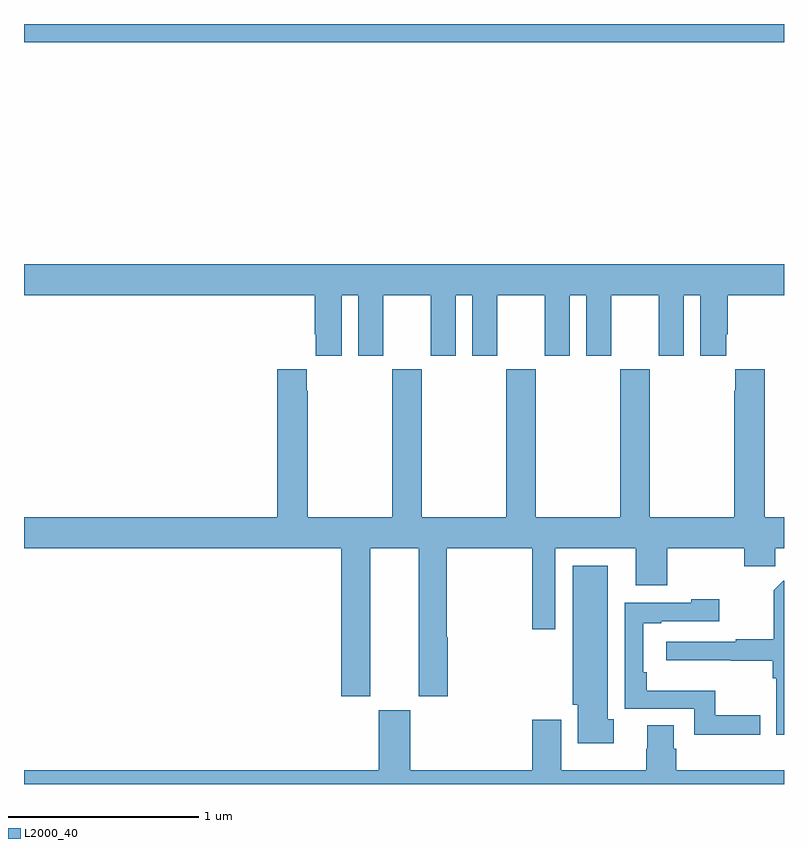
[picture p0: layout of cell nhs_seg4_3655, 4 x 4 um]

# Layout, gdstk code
import gdstk
lib = gdstk.Library(unit=1e-6, precision=1e-09)
def R(c, l, rs):  # rectangles x0, y0, x1, y1
    for r in rs: c.add(gdstk.rectangle(r[:2], r[2:], *l))
def P(c, l, *ps):  # polygons
    for p in ps: c.add(gdstk.Polygon(p, *l))
L2000_40 = (2000, 40)

nhs_seg4_3655 = lib.new_cell('nhs_seg4_3655')
R(nhs_seg4_3655, L2000_40, [(303,812.804,307,812.9)])
P(nhs_seg4_3655, L2000_40, [(303,811.472),(304.529,811.472),(304.529,811.267),(304.535,811.267),(304.535,811.155),(304.672,811.155),(304.672,811.472),(304.76,811.472),(304.76,811.155),(304.891,811.155),(304.891,811.472),(305.141,811.472),(305.141,811.155),(305.272,811.155),(305.272,811.472),(305.36,811.472),(305.36,811.155),(305.491,811.155),(305.491,811.472),(305.741,811.472),(305.741,811.155),(305.872,811.155),(305.872,811.472),(305.96,811.472),(305.96,811.155),(306.091,811.155),(306.091,811.472),(306.341,811.472),(306.341,811.155),(306.472,811.155),(306.472,811.472),(306.56,811.472),(306.56,811.155),(306.697,811.155),(306.697,811.267),(306.704,811.267),(306.704,811.472),(307,811.472),(307,811.636),(303,811.636)],
  [(306.791,810.047),(306.955,810.047),(306.955,810.14),(307,810.14),(307,810.304),(306.899,810.304),(306.899,811.084),(306.743,811.084),(306.743,810.971),(306.739,810.971),(306.739,810.304),(306.294,810.304),(306.294,811.084),(306.139,811.084),(306.139,810.304),(305.694,810.304),(305.694,811.084),(305.539,811.084),(305.539,810.304),(305.094,810.304),(305.094,811.084),(304.939,811.084),(304.939,810.304),(304.494,810.304),(304.494,810.971),(304.489,810.971),(304.489,811.084),(304.334,811.084),(304.334,810.304),(303,810.304),(303,810.14),(304.67,810.14),(304.67,809.361),(304.822,809.361),(304.822,810.14),(305.078,810.14),(305.078,809.361),(305.231,809.361),(305.231,809.673),(305.226,809.673),(305.226,810.14),(305.674,810.14),(305.674,809.715),(305.797,809.715),(305.797,810.14),(306.221,810.14),(306.221,809.946),(306.385,809.946),(306.385,810.14),(306.791,810.14)],
  [(306.103,809.24),(306.073,809.24),(306.073,810.049),(305.888,810.049),(305.888,809.316),(305.915,809.316),(305.915,809.114),(306.103,809.114)],
  [(307,809.971),(306.997,809.971),(306.945,809.919),(306.945,809.662),(306.745,809.662),(306.745,809.649),(306.381,809.649),(306.381,809.552),(306.721,809.552),(306.721,809.548),(306.94,809.548),(306.94,809.456),(306.96,809.456),(306.96,809.16),(307,809.16)],
  [(306.874,809.261),(306.637,809.261),(306.637,809.392),(306.278,809.392),(306.278,809.488),(306.258,809.488),(306.258,809.745),(306.355,809.745),(306.355,809.757),(306.658,809.757),(306.658,809.872),(306.513,809.872),(306.513,809.853),(306.162,809.853),(306.162,809.295),(306.528,809.295),(306.528,809.159),(306.874,809.159)],
  [(307,808.972),(306.434,808.972),(306.434,809.085),(306.421,809.085),(306.421,809.21),(306.281,809.21),(306.281,809.085),(306.274,809.085),(306.274,808.972),(305.827,808.972),(305.827,809.239),(305.675,809.239),(305.675,808.972),(305.032,808.972),(305.032,809.289),(304.868,809.289),(304.868,808.972),(303,808.972),(303,808.9),(307,808.9)])

lib.write_gds('nhs_seg4_3655.gds')
